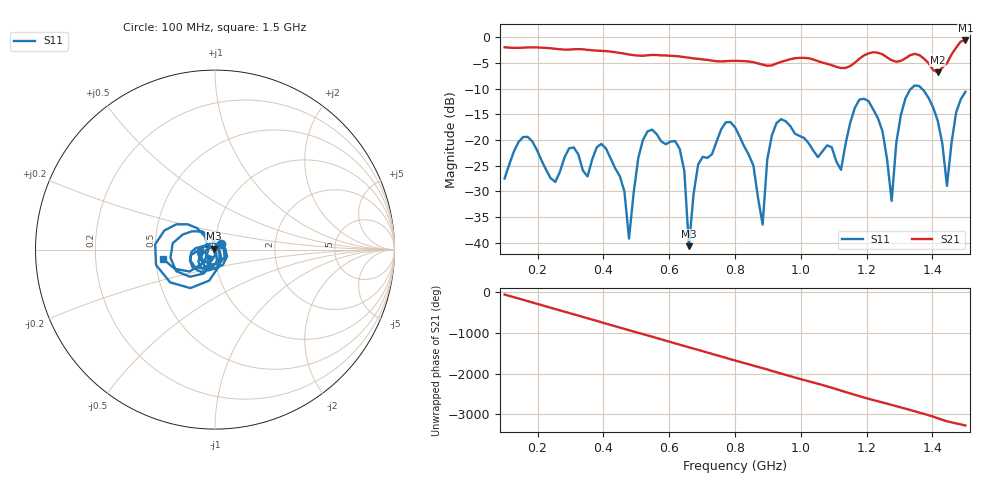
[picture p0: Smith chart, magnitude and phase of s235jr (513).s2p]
! NanoVNA-App
! Date: 2025-09-25 15:08:09
! Start: 100MHz Stop: 1,5GHz Points: 101
! S-Parameter data: F S11 S21 S12 S22
# Hz S RI R 50
!  Frequency  S11_Real  S11_Imag  S21_Real  S21_Imag  S12_Real  S12_Imag  S22_Real  S22_Imag
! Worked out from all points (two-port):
!   101 points, 100 MHz to 1.5 GHz, reference 50 ohm
!   highest |S21| = -0.64 dB at 1.5 GHz (marker M1); lowest = -6.8 dB at 1.416 GHz (marker M2)
!   |S21| within 3 dB of the highest: start of sweep to 610 MHz; 1.19 GHz to 1.255 GHz (65.29 MHz wide, 5.34 % of centre) (the widest 2 of 4)
!   lowest |S11| = -40.6 dB at 660 MHz (marker M3), VSWR 1.02, Z = 49.2 + j0.527 ohm
!   |S11| at or under -10 dB: start of sweep to 1.335 GHz; 1.368 GHz to end of sweep
!   S12 and S22 are empty: the file has one direction only
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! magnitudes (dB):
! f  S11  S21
! 100 MHz  -27.5  -2.0
! 156 MHz  -19.4  -2.0
! 338 MHz  -26.0  -2.4
! 408 MHz  -21.6  -2.7
! 478 MHz  -39.2  -3.4
! 520 MHz  -20.0  -3.6
! 576 MHz  -20.3  -3.5
! 632 MHz  -21.7  -3.7
! 660 MHz  -40.6  -4.0
! 688 MHz  -24.8  -4.2
! 800 MHz  -17.5  -4.6
! 884 MHz  -36.4  -5.3
! 898 MHz  -23.8  -5.6
! 926 MHz  -16.7  -5.1
! 1.038 GHz  -22.1  -4.3
! 1.122 GHz  -25.8  -6.0
! 1.206 GHz  -12.5  -3.1
! 1.276 GHz  -31.8  -4.5
! 1.332 GHz  -10.2  -3.5
! 1.416 GHz  -16.3  -6.8
! 1.444 GHz  -28.9  -5.1
! 1.5 GHz  -10.6  -0.6
